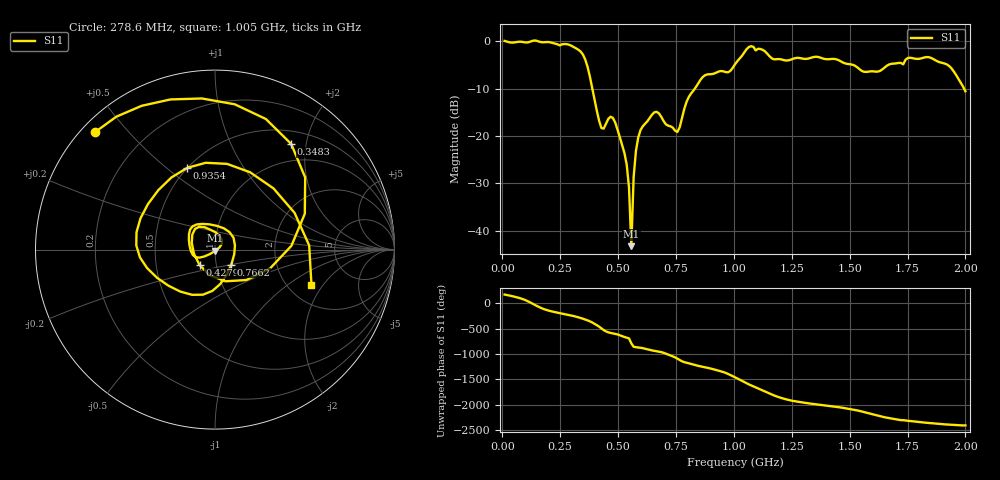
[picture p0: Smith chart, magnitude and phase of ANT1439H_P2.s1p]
!Created with skrf (http://scikit-rf.org).
# Hz S RI R 50.0
!freq ReS11 ImS11
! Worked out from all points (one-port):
!   201 points, 10 MHz to 2 GHz, reference 50 ohm
!   lowest |S11| = -43.3 dB at 557.2 MHz (marker M1), VSWR 1.01, Z = 50.2 - j0.653 ohm
!   |S11| at or under -10 dB: 388.9 MHz to 831.2 MHz (442.3 MHz wide, 72.5 % of centre); 1.994404 GHz to end of sweep
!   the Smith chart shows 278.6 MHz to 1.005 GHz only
!   S11 on the Smith chart (normalised r, x): 278.6 MHz: 0.04, +0.41; 348.3 MHz: 0.70, +1.74; 427.9 MHz: 0.83, -0.14; 766.2 MHz: 1.18, -0.20; 935.4 MHz: 0.50, +0.59; 1.005 GHz: 2.66, -1.56
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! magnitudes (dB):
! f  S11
! 10 MHz  0.1
! 258.8 MHz  -0.6
! 278.6 MHz  -0.6
! 348.3 MHz  -2.8
! 368.2 MHz  -5.4
! 427.9 MHz  -18.3
! 467.7 MHz  -15.9
! 507.5 MHz  -20.3
! 537.4 MHz  -26.1
! 547.3 MHz  -30.9
! 557.2 MHz  -43.3
! 567.2 MHz  -28.7
! 577.1 MHz  -23.2
! 597 MHz  -18.7
! 666.7 MHz  -14.9
! 756.2 MHz  -19.1
! 766.2 MHz  -18.2
! 796 MHz  -12.7
! 855.8 MHz  -8.1
! 935.4 MHz  -6.4
! 1.005 GHz  -4.8
! 1.075 GHz  -1.0
! 1.254 GHz  -3.7
! 1.502 GHz  -4.8
! 1.622 GHz  -6.4
! 1.751 GHz  -3.5
! 1.92 GHz  -4.9
! 2 GHz  -10.5
